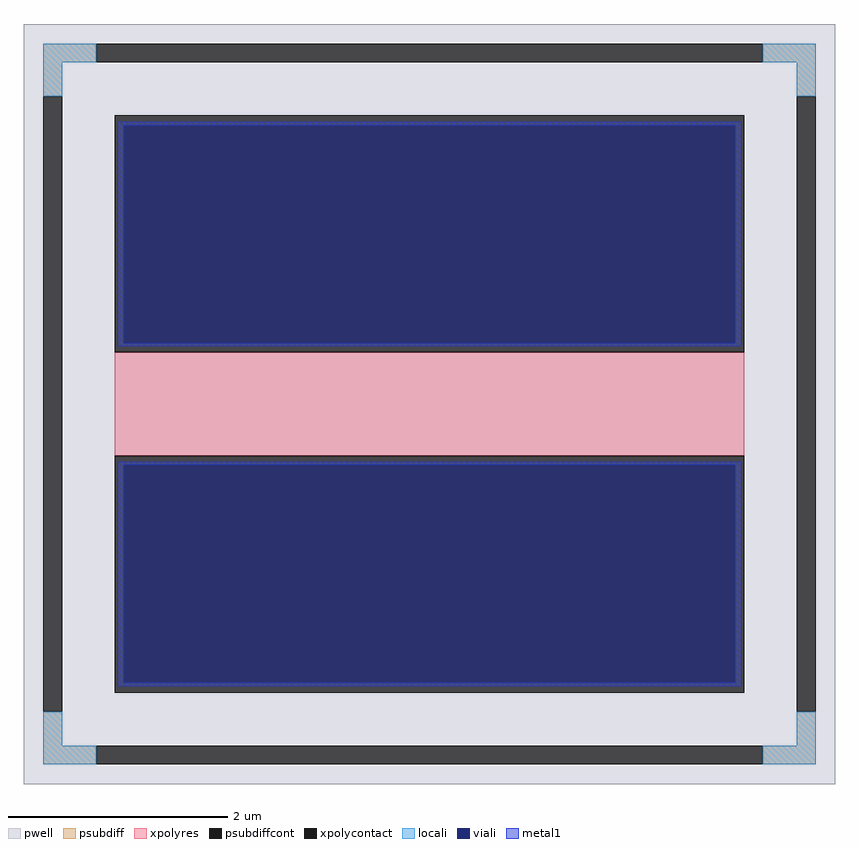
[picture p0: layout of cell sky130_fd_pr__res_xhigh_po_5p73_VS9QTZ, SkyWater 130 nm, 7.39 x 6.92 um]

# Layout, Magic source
magic
tech sky130A
magscale 1 2
<< pwell >>
rect -739 -692 739 692
<< psubdiff >>
rect -703 622 -607 656
rect 607 622 703 656
rect -703 560 -669 622
rect 669 560 703 622
rect -703 -622 -669 -560
rect 669 -622 703 -560
rect -703 -656 -607 -622
rect 607 -656 703 -622
<< psubdiffcont >>
rect -607 622 607 656
rect -703 -560 -669 560
rect 669 -560 703 560
rect -607 -656 607 -622
<< xpolycontact >>
rect -573 94 573 526
rect -573 -526 573 -94
<< xpolyres >>
rect -573 -94 573 94
<< locali >>
rect -703 622 -607 656
rect 607 622 703 656
rect -703 560 -669 622
rect 669 560 703 622
rect -703 -622 -669 -560
rect 669 -622 703 -560
rect -703 -656 -607 -622
rect 607 -656 703 -622
<< viali >>
rect -557 111 557 508
rect -557 -508 557 -111
<< metal1 >>
rect -569 508 569 514
rect -569 111 -557 508
rect 557 111 569 508
rect -569 105 569 111
rect -569 -111 569 -105
rect -569 -508 -557 -111
rect 557 -508 569 -111
rect -569 -514 569 -508
<< properties >>
string FIXED_BBOX -686 -639 686 639
string gencell sky130_fd_pr__res_xhigh_po_5p73
string library sky130
string parameters w 5.730 l 1.1 m 1 nx 1 wmin 5.730 lmin 0.50 rho 2000 val 449.633 dummy 0 dw 0.0 term 188.2 sterm 0.0 caplen 0 wmax 5.730 guard 1 glc 1 grc 1 gtc 1 gbc 1 compatible {sky130_fd_pr__res_xhigh_po_0p35  sky130_fd_pr__res_xhigh_po_0p69 sky130_fd_pr__res_xhigh_po_1p41  sky130_fd_pr__res_xhigh_po_2p85 sky130_fd_pr__res_xhigh_po_5p73} snake 0 full_metal 1 n_guard 0 hv_guard 0 vias 1 viagb 0 viagt 0 viagl 0 viagr 0
<< end >>
